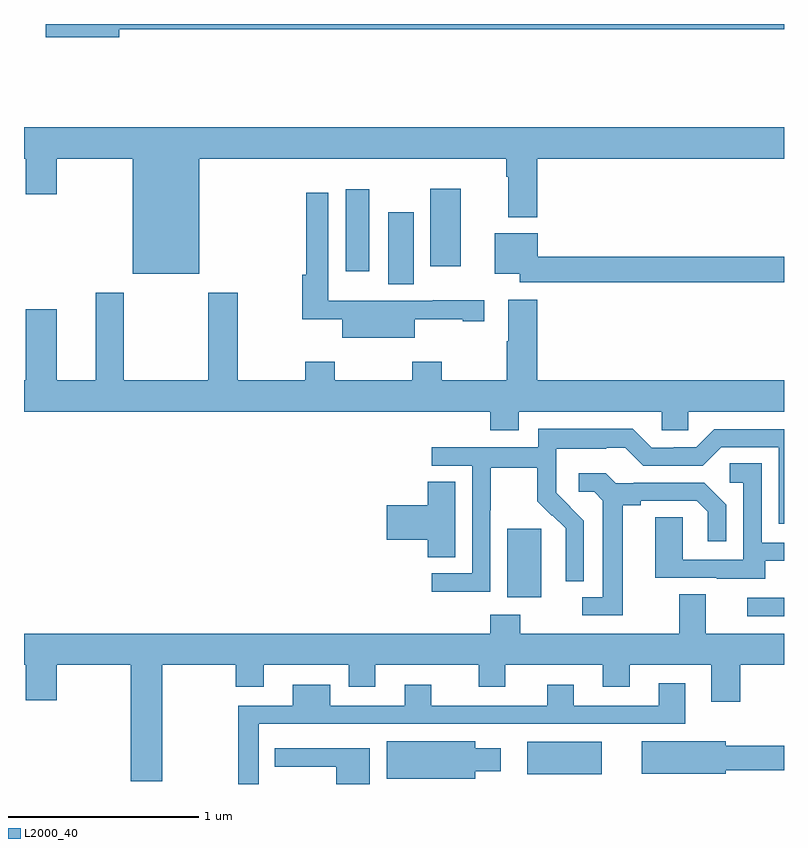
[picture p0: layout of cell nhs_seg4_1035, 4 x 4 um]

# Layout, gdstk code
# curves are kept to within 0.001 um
import gdstk
lib = gdstk.Library(unit=1e-6, precision=1e-09)
def R(c, l, rs):  # rectangles x0, y0, x1, y1
    for r in rs: c.add(gdstk.rectangle(r[:2], r[2:], *l))
def P(c, l, *ps):  # polygons
    for p in ps: c.add(gdstk.Polygon(p, *l))
L2000_40 = (2000, 40)

nhs_seg4_1035 = lib.new_cell('nhs_seg4_1035')
R(nhs_seg4_1035, L2000_40, [(167.648,754.952,168.04,755.122), (168.807,755.784,169,755.88), (167.543,755.882,167.722,756.243), (166.916,757.529,167.05,757.909), (166.694,757.599,166.816,758.029), (167.138,757.626,167.299,758.032)])
P(nhs_seg4_1035, L2000_40, [(165.502,758.872),(169,758.872),(169,758.9),(165.114,758.9),(165.114,758.83),(165.502,758.83)],
  [(165.922,758.192),(167.537,758.192),(167.537,758.096),(167.549,758.096),(167.549,757.883),(167.702,757.883),(167.702,758.192),(169,758.192),(169,758.356),(165,758.356),(165,758.192),(165.008,758.192),(165.008,758.004),(165.172,758.004),(165.172,758.192),(165.572,758.192),(165.572,757.586),(165.922,757.586)],
  [(167.056,757.345),(167.309,757.345),(167.309,757.335),(167.422,757.335),(167.422,757.445),(167.152,757.445),(167.152,757.443),(166.92,757.443),(166.92,757.444),(166.602,757.444),(166.602,758.011),(166.486,758.011),(166.486,757.579),(166.465,757.579),(166.465,757.345),(166.676,757.345),(166.676,757.25),(167.056,757.25)],
  [(169,757.676),(167.704,757.676),(167.704,757.798),(167.477,757.798),(167.477,757.586),(167.61,757.586),(167.61,757.54),(169,757.54)],
  [(167.605,756.86),(168.357,756.86),(168.357,756.762),(168.495,756.762),(168.495,756.86),(169,756.86),(169,757.024),(167.702,757.024),(167.702,757.45),(167.549,757.45),(167.549,757.229),(167.542,757.229),(167.542,757.024),(167.199,757.024),(167.199,757.123),(167.044,757.123),(167.044,757.024),(166.635,757.024),(166.635,757.123),(166.48,757.123),(166.48,757.024),(166.125,757.024),(166.125,757.486),(165.97,757.486),(165.97,757.024),(165.525,757.024),(165.525,757.486),(165.377,757.486),(165.377,757.024),(165.172,757.024),(165.172,757.399),(165.008,757.399),(165.008,757.024),(165,757.024),(165,756.86),(167.453,756.86),(167.453,756.761),(167.605,756.761)],
  [(167.454,756.34),(167.457,756.34),(167.457,756.564),(167.701,756.564),(167.701,756.389),(167.778,756.312),(167.781,756.315),(167.852,756.245),(167.852,756.122),(167.85,756.122),(167.85,755.968),(167.946,755.968),(167.946,756.286),(167.8,756.434),(167.8,756.531),(167.802,756.531),(167.802,756.665),(168.065,756.665),(168.065,756.669),(168.165,756.669),(168.258,756.576),(168.573,756.576),(168.669,756.672),(168.972,756.672),(168.972,756.27),(169,756.27),(169,756.768),(168.633,756.768),(168.537,756.672),(168.419,756.672),(168.419,756.669),(168.303,756.669),(168.203,756.769),(167.706,756.769),(167.706,756.672),(167.145,756.672),(167.145,756.576),(167.358,756.576),(167.358,756.009),(167.145,756.009),(167.145,755.911),(167.454,755.911)],
  [(168.901,756.075),(169,756.075),(169,756.171),(168.882,756.171),(168.882,756.587),(168.714,756.587),(168.714,756.486),(168.786,756.486),(168.786,756.081),(168.468,756.081),(168.468,756.305),(168.323,756.305),(168.323,755.985),(168.647,755.985),(168.647,755.981),(168.901,755.981)],
  [(168.151,756.368),(168.247,756.368),(168.247,756.39),(168.542,756.39),(168.599,756.333),(168.599,756.177),(168.696,756.177),(168.696,756.37),(168.58,756.486),(168.208,756.486),(168.208,756.483),(168.114,756.483),(168.062,756.535),(167.919,756.535),(167.919,756.438),(168,756.438),(168.047,756.391),(168.047,755.883),(167.937,755.883),(167.937,755.787),(168.151,755.787)],
  [(167.269,756.491),(167.126,756.491),(167.126,756.368),(166.908,756.368),(166.908,756.185),(167.126,756.185),(167.126,756.094),(167.269,756.094)],
  [(165.727,755.528),(166.114,755.528),(166.114,755.411),(166.261,755.411),(166.261,755.528),(166.709,755.528),(166.709,755.411),(166.849,755.411),(166.849,755.528),(167.393,755.528),(167.393,755.411),(167.533,755.411),(167.533,755.528),(168.047,755.528),(168.047,755.411),(168.187,755.411),(168.187,755.528),(168.617,755.528),(168.617,755.334),(168.77,755.334),(168.77,755.528),(169,755.528),(169,755.692),(168.589,755.692),(168.589,755.9),(168.449,755.9),(168.449,755.692),(167.613,755.692),(167.613,755.791),(167.453,755.791),(167.453,755.692),(165,755.692),(165,755.528),(165.008,755.528),(165.008,755.34),(165.172,755.34),(165.172,755.528),(165.563,755.528),(165.563,754.914),(165.727,754.914)],
  [(166.236,755.217),(168.481,755.217),(168.481,755.431),(168.341,755.431),(168.341,755.313),(167.893,755.313),(167.893,755.422),(167.753,755.422),(167.753,755.313),(167.143,755.313),(167.143,755.422),(167.003,755.422),(167.003,755.313),(166.612,755.313),(166.612,755.422),(166.415,755.422),(166.415,755.313),(166.128,755.313),(166.128,754.9),(166.236,754.9)],
  [(167.374,754.967),(167.509,754.967),(167.509,755.089),(167.374,755.089),(167.374,755.125),(166.91,755.125),(166.91,754.928),(167.374,754.928)],
  [(168.694,754.972),(169,754.972),(169,755.101),(168.694,755.101),(168.694,755.125),(168.251,755.125),(168.251,754.955),(168.694,754.955)],
  [(166.819,755.088),(166.429,755.088),(166.429,755.087),(166.321,755.087),(166.321,754.991),(166.643,754.991),(166.643,754.9),(166.819,754.9)])

lib.write_gds('nhs_seg4_1035.gds')
